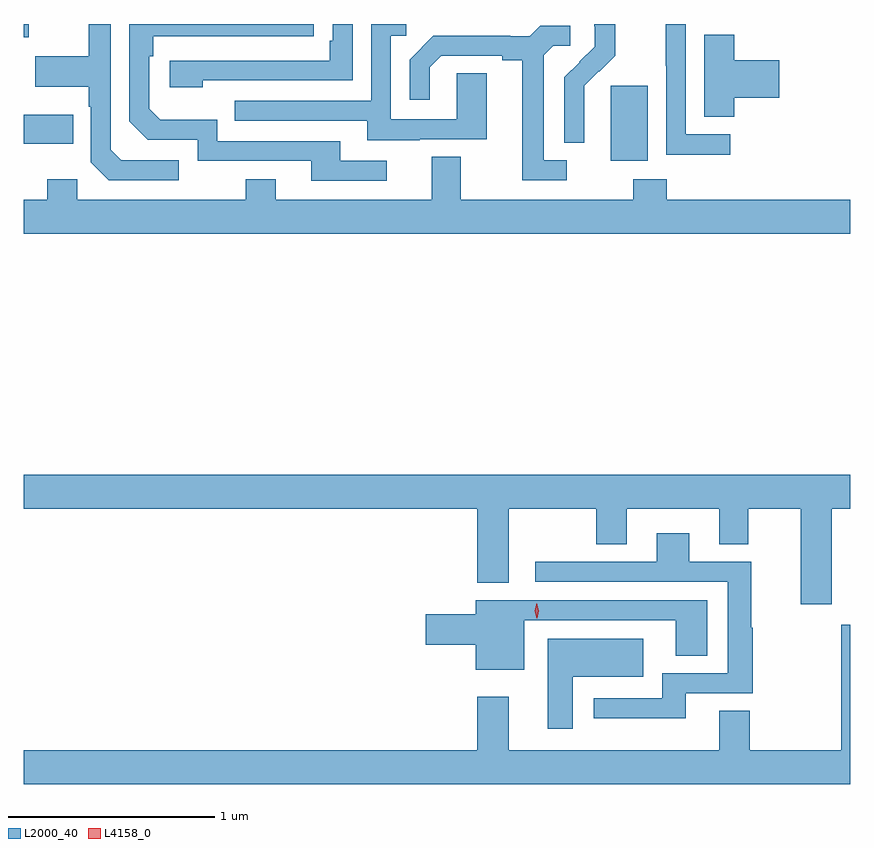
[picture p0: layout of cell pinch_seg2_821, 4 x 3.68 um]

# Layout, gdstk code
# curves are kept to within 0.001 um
import gdstk
lib = gdstk.Library(unit=1e-6, precision=1e-09)
def R(c, l, rs):  # rectangles x0, y0, x1, y1
    for r in rs: c.add(gdstk.rectangle(r[:2], r[2:], *l))
def P(c, l, *ps):  # polygons
    for p in ps: c.add(gdstk.Polygon(p, *l))
L2000_40 = (2000, 40)
L4158_0 = (4158, 0)

pinch_seg2_821 = lib.new_cell('pinch_seg2_821')
R(pinch_seg2_821, L2000_40, [(774.29,625.346,774.469,625.707), (771.449,625.427,771.689,625.567), (771.449,625.943,771.472,626.007)])
P(pinch_seg2_821, L2000_40, [(774.868,625.473),(774.654,625.473),(774.654,626.007),(774.556,626.007),(774.556,625.804),(774.558,625.804),(774.558,625.375),(774.868,625.375)],
  [(774.162,625.586),(774.161,625.709),(774.231,625.779),(774.234,625.776),(774.311,625.853),(774.311,626.007),(774.21,626.007),(774.21,625.995),(774.212,625.995),(774.212,625.898),(774.066,625.75),(774.066,625.432),(774.162,625.432)],
  [(772.316,625.734),(773.04,625.734),(773.04,626.007),(772.944,626.007),(772.944,625.927),(772.931,625.927),(772.931,625.83),(772.155,625.83),(772.155,625.7),(772.316,625.7)],
  [(773.206,625.344),(772.981,625.344),(772.981,625.44),(772.386,625.44),(772.386,625.543),(772.109,625.543),(772.056,625.596),(772.056,625.85),(772.076,625.85),(772.076,625.947),(772.853,625.948),(772.853,626.007),(771.96,626.007),(771.96,625.536),(772.05,625.446),(772.29,625.446),(772.29,625.344),(772.841,625.344),(772.841,625.248),(773.206,625.248)],
  [(773.365,625.449),(773.689,625.449),(773.689,625.769),(773.544,625.769),(773.544,625.545),(773.226,625.545),(773.226,625.95),(773.299,625.95),(773.299,626.007),(773.13,626.007),(773.13,625.635),(772.471,625.635),(772.471,625.539),(773.111,625.539),(773.111,625.445),(773.365,625.445)],
  [(772.198,625.347),(771.921,625.347),(771.87,625.398),(771.87,626.007),(771.762,626.007),(771.762,625.851),(771.505,625.851),(771.505,625.703),(771.762,625.703),(771.762,625.607),(771.774,625.607),(771.774,625.338),(771.861,625.251),(772.198,625.251)],
  [(774.076,625.347),(773.965,625.347),(773.965,625.855),(774.012,625.902),(774.094,625.902),(774.094,625.999),(773.95,625.999),(773.898,625.947),(773.804,625.947),(773.804,625.95),(773.432,625.95),(773.316,625.834),(773.316,625.641),(773.413,625.641),(773.413,625.797),(773.47,625.854),(773.765,625.854),(773.765,625.832),(773.861,625.832),(773.861,625.251),(774.076,625.251)],
  [(774.887,625.649),(775.105,625.649),(775.105,625.832),(774.887,625.832),(774.887,625.955),(774.743,625.955),(774.743,625.558),(774.887,625.558)],
  [(775.449,625.156),(774.56,625.156),(774.56,625.255),(774.4,625.255),(774.4,625.156),(773.563,625.156),(773.563,625.364),(773.423,625.364),(773.423,625.156),(772.669,625.156),(772.669,625.255),(772.522,625.255),(772.522,625.156),(771.708,625.156),(771.708,625.255),(771.562,625.255),(771.562,625.156),(771.449,625.156),(771.449,624.992),(775.449,624.992)],
  [(771.449,623.66),(773.645,623.66),(773.645,623.303),(773.797,623.303),(773.797,623.66),(774.22,623.66),(774.22,623.488),(774.367,623.488),(774.367,623.66),(774.815,623.66),(774.815,623.488),(774.955,623.488),(774.955,623.66),(775.211,623.66),(775.211,623.199),(775.359,623.199),(775.359,623.66),(775.449,623.66),(775.449,623.824),(771.449,623.824)],
  [(774.652,622.767),(774.978,622.767),(774.978,623.085),(774.97,623.085),(774.97,623.403),(774.67,623.403),(774.67,623.542),(774.512,623.542),(774.512,623.403),(773.925,623.403),(773.925,623.307),(774.857,623.307),(774.857,622.863),(774.539,622.863),(774.539,622.743),(774.207,622.743),(774.207,622.646),(774.652,622.646)],
  [(773.872,623.121),(774.605,623.121),(774.605,622.95),(774.757,622.95),(774.757,623.217),(773.636,623.217),(773.636,623.15),(773.394,623.15),(773.394,623.003),(773.636,623.003),(773.636,622.88),(773.872,622.88)],
  [(775.449,623.098),(775.406,623.098),(775.406,622.492),(774.963,622.492),(774.963,622.682),(774.815,622.682),(774.815,622.492),(773.797,622.492),(773.797,622.75),(773.645,622.75),(773.645,622.492),(771.449,622.492),(771.449,622.328),(775.449,622.328)],
  [(774.106,622.847),(774.448,622.847),(774.448,623.032),(773.984,623.032),(773.984,622.596),(774.106,622.596)])
P(pinch_seg2_821, L4158_0, [(773.933,623.13),(773.933,623.131),(773.922,623.166),(773.931,623.203),(773.931,623.203),(773.931,623.203),(773.942,623.167),(773.934,623.131)])

lib.write_gds('pinch_seg2_821.gds')
